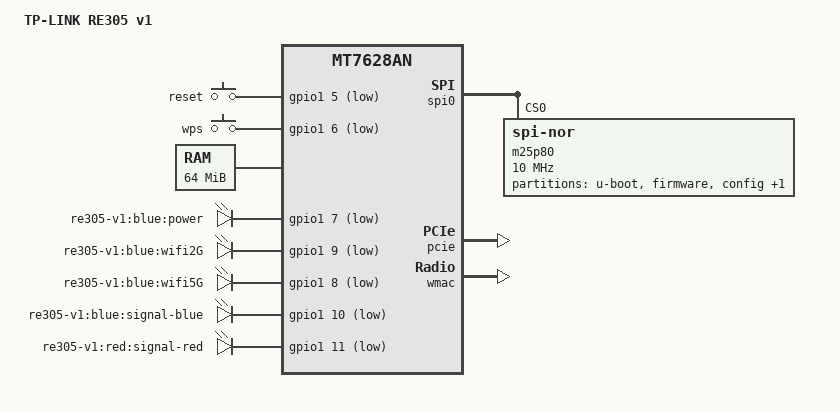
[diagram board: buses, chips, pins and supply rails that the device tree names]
/dts-v1/;

#include "mt7628an.dtsi"

#include <dt-bindings/gpio/gpio.h>
#include <dt-bindings/input/input.h>

/ {
	compatible = "tplink,re305-v1", "mediatek,mt7628an-soc";
	model = "TP-LINK RE305 v1";

	aliases {
		led-boot = &led_power;
		led-failsafe = &led_power;
		led-running = &led_power;
		led-upgrade = &led_power;
	};

	chosen {
		bootargs = "console=ttyS0,57600";				   
						   
	};

	keys {
		compatible = "gpio-keys-polled";
		poll-interval = <20>;

		reset {
			label = "reset";
			gpios = <&gpio1 5 GPIO_ACTIVE_LOW>;
			linux,code = <KEY_RESTART>;
		};

		wps {
			label = "wps";
			gpios = <&gpio1 6 GPIO_ACTIVE_LOW>;
			linux,code = <KEY_WPS_BUTTON>;
		};
	};

	memory@0 {
		device_type = "memory";
		reg = <0x0 0x4000000>;
	};

	leds {
		compatible = "gpio-leds";
		
		led_power: power {
			label = "re305-v1:blue:power";
			gpios = <&gpio1 7 GPIO_ACTIVE_LOW>;
		};

		wifi2g {
			label = "re305-v1:blue:wifi2G";
			gpios = <&gpio1 9 GPIO_ACTIVE_LOW>;
		};

		wifi5g {
			label = "re305-v1:blue:wifi5G";
			gpios = <&gpio1 8 GPIO_ACTIVE_LOW>;
		};

		signal-blue {
			label = "re305-v1:blue:signal-blue";
			gpios = <&gpio1 10 GPIO_ACTIVE_LOW>;
		};

		signal-red {
			label = "re305-v1:red:signal-red";
			gpios = <&gpio1 11 GPIO_ACTIVE_LOW>;
		};
	
	};
};

&spi0 {
	status = "okay";

	m25p80@0 {
		compatible = "jedec,spi-nor";
		reg = <0>;
		spi-max-frequency = <10000000>;

		partitions {
			compatible = "fixed-partitions";
			#address-cells = <1>;
			#size-cells = <1>;

			partition@0 {
				label = "u-boot";
				reg = <0x0 0x20000>;
				read-only;
			};

			partition@20000 {
				compatible = "tplink,firmware";
				label = "firmware";
				reg = <0x20000 0x5e0000>;
			};

			config: partition@600000 {
				label = "config";
				reg = <0x600000 0x50000>;
				read-only;
			};

			factory: partition@7f0000 {
				label = "radio";
				reg = <0x7f0000 0x10000>;
				read-only;
			};
		};
	};
};


&pcie {
	status = "okay";
};

&pcie0 {
	mt76@0,0 {
		reg = <0x0000 0 0 0 0>;
		mediatek,mtd-eeprom = <&factory 0x8000>;
		mtd-mac-address = <&config 0x10008>;
		mtd-mac-address-increment = <2>;
	};
};

&pinctrl {
	state_default: pinctrl0 {
		gpio {
			ralink,group = "refclk", "wdt", "p0led_an", "p1led_an", "p2led_an","p3led_an", "p4led_an";
			ralink,function = "gpio";
		};
	};
};

&ehci {
	status = "disabled";
};

&ohci {
	status = "disabled";
};

&wmac {
	status = "okay";
	mediatek,mtd-eeprom = <&factory 0>;
	mtd-mac-address = <&config 0x10008>;
	mtd-mac-address-increment = <1>;
};

&ethernet {
	mtd-mac-address = <&config 0x10008>;
};
